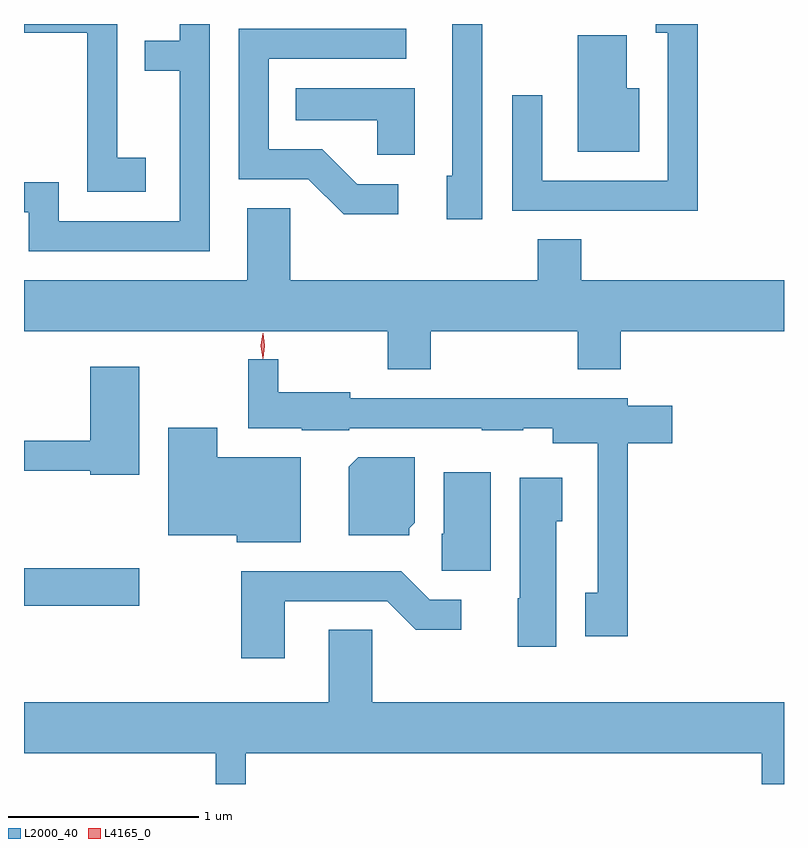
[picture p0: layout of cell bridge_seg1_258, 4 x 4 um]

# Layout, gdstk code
import gdstk
lib = gdstk.Library(unit=1e-6, precision=1e-09)
def R(c, l, rs):  # rectangles x0, y0, x1, y1
    for r in rs: c.add(gdstk.rectangle(r[:2], r[2:], *l))
def P(c, l, *ps):  # polygons
    for p in ps: c.add(gdstk.Polygon(p, *l))
L2000_40 = (2000, 40)
L4165_0 = (4165, 0)

bridge_seg1_258 = lib.new_cell('bridge_seg1_258')
R(bridge_seg1_258, L2000_40, [(949.737,884.811,950.344,885.009)])
P(bridge_seg1_258, L2000_40, [(952.149,887.873),(951.991,887.873),(951.991,887.074),(951.961,887.074),(951.961,886.846),(952.149,886.846)],
  [(950.714,887.873),(950.556,887.873),(950.556,887.784),(950.373,887.784),(950.373,887.626),(950.556,887.626),(950.556,886.834),(949.919,886.834),(949.919,887.039),(949.737,887.039),(949.737,886.881),(949.761,886.881),(949.761,886.676),(950.714,886.676)],
  [(950.379,887.169),(950.229,887.169),(950.229,887.873),(949.737,887.873),(949.737,887.826),(950.071,887.826),(950.071,886.991),(950.379,886.991)],
  [(953.284,887.873),(953.061,887.873),(953.061,887.826),(953.126,887.826),(953.126,887.049),(952.464,887.049),(952.464,887.498),(952.306,887.498),(952.306,886.891),(953.284,886.891)],
  [(951.708,887.029),(951.492,887.029),(951.307,887.214),(951.024,887.214),(951.024,887.691),(951.748,887.691),(951.748,887.849),(950.866,887.849),(950.866,887.056),(951.234,887.056),(951.419,886.871),(951.708,886.871)],
  [(952.974,887.534),(952.909,887.534),(952.909,887.814),(952.651,887.814),(952.651,887.201),(952.974,887.201)],
  [(951.794,887.534),(951.168,887.534),(951.168,887.366),(951.596,887.366),(951.596,887.186),(951.794,887.186)],
  [(951.879,886.256),(952.651,886.256),(952.651,886.056),(952.879,886.056),(952.879,886.256),(953.737,886.256),(953.737,886.524),(952.669,886.524),(952.669,886.739),(952.441,886.739),(952.441,886.524),(951.139,886.524),(951.139,886.904),(950.911,886.904),(950.911,886.524),(949.737,886.524),(949.737,886.256),(951.651,886.256),(951.651,886.056),(951.879,886.056)],
  [(952.914,885.666),(953.149,885.666),(953.149,885.864),(952.914,885.864),(952.914,885.904),(951.454,885.904),(951.454,885.934),(951.074,885.934),(951.074,886.108),(950.916,886.108),(950.916,885.746),(951.2,885.746),(951.2,885.736),(951.45,885.736),(951.45,885.746),(952.145,885.746),(952.145,885.736),(952.365,885.736),(952.365,885.746),(952.521,885.746),(952.521,885.666),(952.756,885.666),(952.756,884.879),(952.691,884.879),(952.691,884.651),(952.914,884.651)],
  [(950.344,886.069),(950.086,886.069),(950.086,885.679),(949.737,885.679),(949.737,885.521),(950.086,885.521),(950.086,885.501),(950.344,885.501)],
  [(951.194,885.594),(950.754,885.594),(950.754,885.749),(950.496,885.749),(950.496,885.181),(950.856,885.181),(950.856,885.146),(951.194,885.146)],
  [(951.764,885.219),(951.794,885.249),(951.794,885.594),(951.497,885.594),(951.446,885.544),(951.446,885.181),(951.764,885.181)],
  [(952.194,885.514),(951.946,885.514),(951.946,885.19),(951.936,885.19),(951.936,884.996),(952.194,884.996)],
  [(952.539,885.256),(952.569,885.256),(952.569,885.484),(952.346,885.484),(952.346,884.85),(952.336,884.85),(952.336,884.596),(952.539,884.596)],
  [(951.109,884.836),(951.649,884.836),(951.799,884.686),(952.038,884.686),(952.038,884.844),(951.872,884.844),(951.722,884.994),(950.881,884.994),(950.881,884.536),(951.109,884.536)],
  [(950.904,884.036),(953.621,884.036),(953.621,883.873),(953.737,883.873),(953.737,884.304),(951.569,884.304),(951.569,884.684),(951.341,884.684),(951.341,884.304),(949.737,884.304),(949.737,884.036),(950.746,884.036),(950.746,883.873),(950.904,883.873)])
P(bridge_seg1_258, L4165_0, [(950.994,886.112),(950.994,886.113),(950.984,886.179),(950.994,886.245),(950.994,886.246),(950.995,886.245),(951.004,886.179),(950.995,886.113)])

lib.write_gds('bridge_seg1_258.gds')
